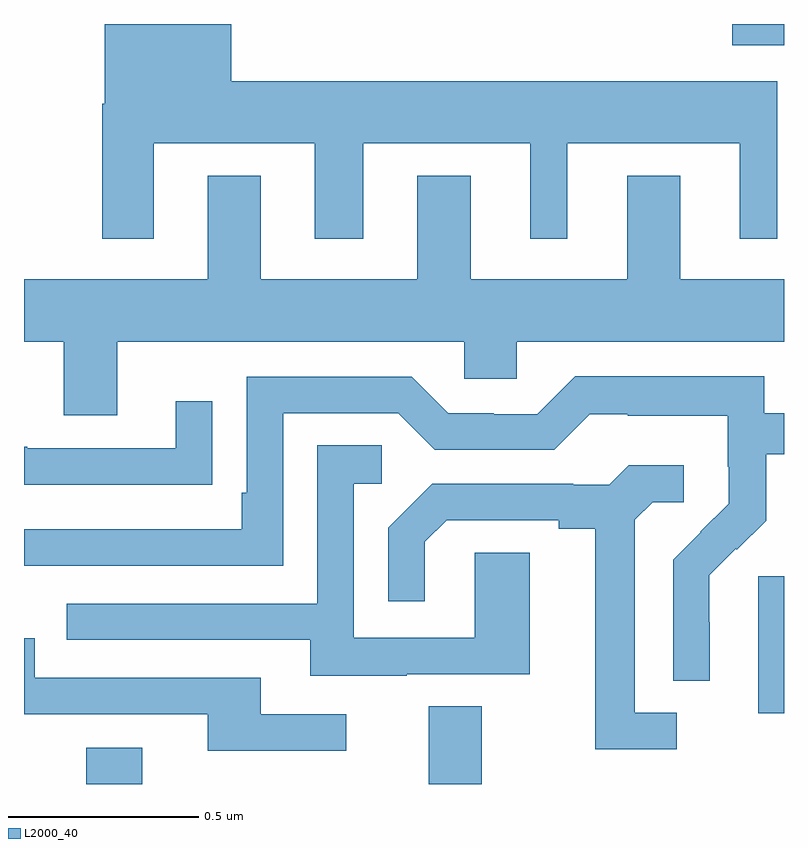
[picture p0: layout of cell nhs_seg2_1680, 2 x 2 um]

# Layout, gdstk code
import gdstk
lib = gdstk.Library(unit=1e-6, precision=1e-09)
def R(c, l, rs):  # rectangles x0, y0, x1, y1
    for r in rs: c.add(gdstk.rectangle(r[:2], r[2:], *l))
def P(c, l, *ps):  # polygons
    for p in ps: c.add(gdstk.Polygon(p, *l))
L2000_40 = (2000, 40)

nhs_seg2_1680 = lib.new_cell('nhs_seg2_1680')
R(nhs_seg2_1680, L2000_40, [(131.164,651.8,131.311,651.895), (132.065,651.8,132.205,652.004), (132.932,651.986,133,652.347), (132.864,653.744,133,653.8)])
P(nhs_seg2_1680, L2000_40, [(131.341,653.486),(131.765,653.486),(131.765,653.235),(131.893,653.235),(131.893,653.486),(132.332,653.486),(132.332,653.235),(132.43,653.235),(132.43,653.486),(132.884,653.486),(132.884,653.235),(132.982,653.235),(132.982,653.65),(131.545,653.65),(131.545,653.8),(131.213,653.8),(131.213,653.59),(131.206,653.59),(131.206,653.235),(131.341,653.235)],
  [(131.245,652.964),(132.159,652.964),(132.159,652.866),(132.297,652.866),(132.297,652.964),(133,652.964),(133,653.128),(132.727,653.128),(132.727,653.401),(132.587,653.401),(132.587,653.128),(132.175,653.128),(132.175,653.401),(132.035,653.401),(132.035,653.128),(131.623,653.128),(131.623,653.401),(131.483,653.401),(131.483,653.128),(131,653.128),(131,652.964),(131.105,652.964),(131.105,652.77),(131.245,652.77)],
  [(132.804,652.226),(132.803,652.226),(132.803,652.349),(132.873,652.419),(132.876,652.416),(132.953,652.493),(132.953,652.668),(133,652.668),(133,652.776),(132.948,652.776),(132.948,652.873),(132.451,652.873),(132.351,652.773),(132.236,652.773),(132.236,652.776),(132.117,652.776),(132.021,652.872),(131.586,652.872),(131.586,652.567),(131.573,652.567),(131.573,652.47),(131,652.47),(131,652.374),(131.682,652.374),(131.682,652.776),(131.985,652.776),(132.081,652.68),(132.396,652.68),(132.489,652.773),(132.589,652.773),(132.589,652.769),(132.852,652.769),(132.852,652.635),(132.854,652.635),(132.854,652.538),(132.78,652.464),(132.781,652.463),(132.708,652.39),(132.708,652.072),(132.804,652.072)],
  [(131.393,652.588),(131.495,652.588),(131.495,652.807),(131.399,652.807),(131.399,652.683),(131.009,652.683),(131.009,652.688),(131,652.688),(131,652.587),(131.393,652.587)],
  [(132.007,652.089),(132.331,652.089),(132.331,652.409),(132.186,652.409),(132.186,652.185),(131.868,652.185),(131.868,652.59),(131.941,652.59),(131.941,652.691),(131.772,652.691),(131.772,652.275),(131.113,652.275),(131.113,652.179),(131.753,652.179),(131.753,652.085),(132.007,652.085)],
  [(132.718,651.987),(132.607,651.987),(132.607,652.495),(132.654,652.542),(132.736,652.542),(132.736,652.639),(132.592,652.639),(132.54,652.587),(132.446,652.587),(132.446,652.59),(132.074,652.59),(131.958,652.474),(131.958,652.281),(132.055,652.281),(132.055,652.437),(132.112,652.494),(132.407,652.494),(132.407,652.472),(132.503,652.472),(132.503,651.891),(132.718,651.891)],
  [(131.848,651.984),(131.623,651.984),(131.623,652.08),(131.028,652.08),(131.028,652.183),(131,652.183),(131,651.984),(131.483,651.984),(131.483,651.888),(131.848,651.888)])

lib.write_gds('nhs_seg2_1680.gds')
